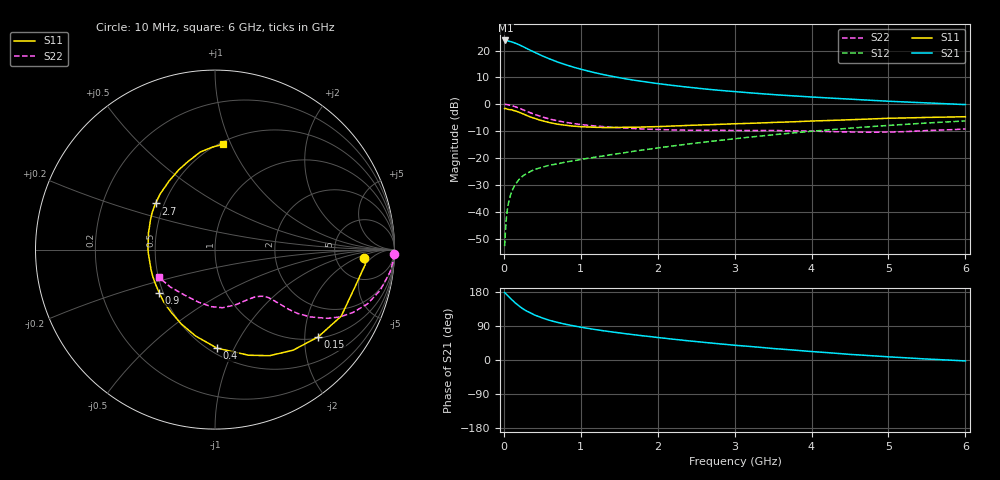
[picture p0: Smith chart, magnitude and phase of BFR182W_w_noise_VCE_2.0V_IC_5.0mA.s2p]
! Infineon Technologies  Discrete & RF Semiconductors
! BFR182W
! VCE =  2.0 V,  IC =  5.0 mA
! Common Emitter S-Parameters:  Jan 2017
# GHz  S  MA  R  50
!  f  S11  S21  S12  S22
! GHz  MAG  ANG  MAG  ANG  MAG  ANG  MAG  ANG
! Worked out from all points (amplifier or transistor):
!   77 points, 10 MHz to 6 GHz, reference 50 ohm
!   highest |S21| = 23.7 dB at 20 MHz (marker M1)
!   |S21| within 3 dB of that: start of sweep to 298.5 MHz
!   unconditionally stable (mu >= 1): 1.296 GHz to 2.973 GHz
!   at 130 MHz: K = 0.17, MSG = 26.9 dB, |S12| = -30.8 dB
!   at 2.2 GHz: K = 1.06, MAG = 9.8 dB, |S12| = -15.5 dB
!   at 6 GHz: K = 0.86, MSG = 3.0 dB, |S12| = -6.2 dB
!   lowest NFmin = 0.88 dB at 450 MHz
!   S11 on the Smith chart (normalised r, x): 10 MHz: 10, -3; 150 MHz: 1.04, -2.33; 400 MHz: 0.55, -0.86; 900 MHz: 0.48, -0.27; 2.7 GHz: 0.45, +0.28; 6 GHz: 0.52, +0.93
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0.01  0.8323 -3.1  15.3 177.9  0.0023 87.9  0.9988 -1.4
0.02  0.8412 -5.7  15.4 176.1  0.0041 89.5  0.9972 -3.0
0.05  0.8093 -14.1  15.16 169.8  0.0122 81.6  0.9837 -7.2
0.1  0.7949 -27.8  14.54 159.7  0.0234 76.5  0.9484 -13.8
0.15  0.7532 -40.2  13.71 150.5  0.0325 70.1  0.9007 -19.7
0.2  0.7095 -52.2  12.77 142.2  0.0405 65.6  0.8459 -24.4
0.25  0.6645 -62.8  11.84 134.8  0.047 60.8  0.7912 -28.3
0.3  0.6174 -72.4  10.87 128.7  0.0519 58.4  0.7369 -31.3
0.4  0.5493 -88.8  9.279 118.6  0.0615 54.4  0.6488 -35.3
0.5  0.4936 -102.6  7.952 110.9  0.0678 52.4  0.5818 -37.7
0.6  0.4547 -114.5  6.937 104.4  0.0741 51.4  0.5307 -39.0
0.7  0.4263 -124.8  6.112 99.1  0.0781 51.7  0.4923 -39.6
0.8  0.4087 -134.2  5.473 94.4  0.0843 52.2  0.4629 -40.2
0.9  0.3929 -142.3  4.93 90.3  0.0887 52.5  0.4401 -40.7
1.1  0.3781 -156.3  4.137 83.3  0.0996 54.0  0.4069 -41.7
1.5  0.3727 -177.9  3.128 71.6  0.1218 56.8  0.3663 -45.2
2.1  0.3892 159.0  2.334 57.2  0.1611 58.4  0.3367 -54.1
2.7  0.419 142.1  1.878 44.7  0.2053 57.7  0.3279 -66.3
3.1  0.4386 132.5  1.679 37.4  0.237 56.2  0.3258 -74.4
4.1  0.4935 112.6  1.342 20.9  0.3238 50.0  0.3147 -96.4
5.1  0.5536 97.1  1.124 7.2  0.4134 41.1  0.3072 -127.6
6  0.5882 85.8  0.988 -2.5  0.4905 31.8  0.348 -153.7
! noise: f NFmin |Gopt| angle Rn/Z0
0.45  0.88  0.26  32  0.17
0.9  0.98  0.21  59  0.16
1.9  1.55  0.19  162  0.13
2.4  1.83  0.21  176  0.17
